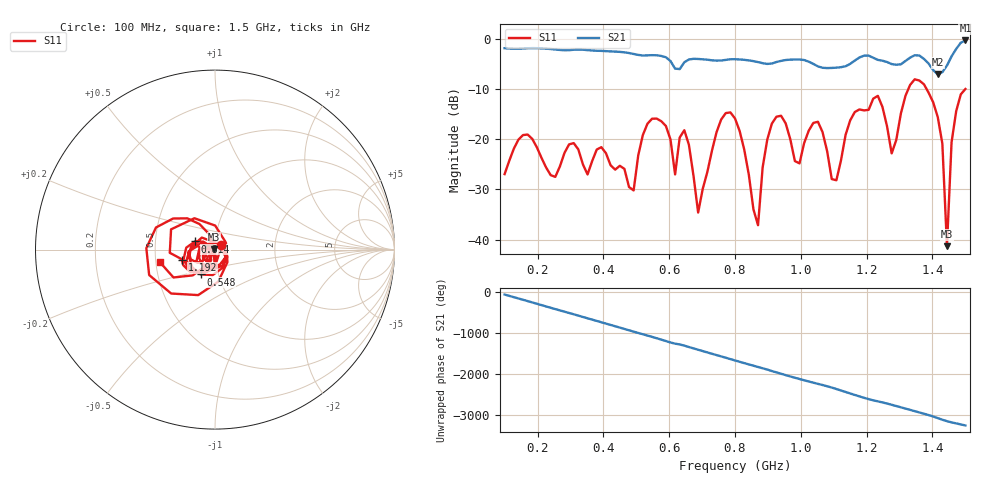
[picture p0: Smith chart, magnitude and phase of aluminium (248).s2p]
! NanoVNA-App
! Date: 2025-09-25 14:57:12
! Start: 100MHz Stop: 1,5GHz Points: 101
! S-Parameter data: F S11 S21 S12 S22
# Hz S RI R 50
!  Frequency  S11_Real  S11_Imag  S21_Real  S21_Imag  S12_Real  S12_Imag  S22_Real  S22_Imag
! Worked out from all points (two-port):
!   101 points, 100 MHz to 1.5 GHz, reference 50 ohm
!   highest |S21| = -0.38 dB at 1.5 GHz (marker M1); lowest = -7.1 dB at 1.416 GHz (marker M2)
!   |S21| within 3 dB of the highest: start of sweep to 567.4 MHz; 1.46 GHz to end of sweep (the widest 2 of 3)
!   lowest |S11| = -41.3 dB at 1.444 GHz (marker M3), VSWR 1.02, Z = 49.2 + j0.333 ohm
!   |S11| at or under -10 dB: start of sweep to 1.327 GHz; 1.382 GHz to end of sweep
!   S12 and S22 are empty: the file has one direction only
!   S11 on the Smith chart (normalised r, x): 100 MHz: 1.07, +0.06; 548 MHz: 0.82, -0.23; 814 MHz: 0.80, +0.07; 1.192 GHz: 0.68, -0.08; 1.5 GHz: 0.53, -0.08
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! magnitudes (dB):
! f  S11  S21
! 100 MHz  -27.0  -1.9
! 338 MHz  -25.0  -2.2
! 492 MHz  -30.2  -3.1
! 548 MHz  -15.9  -3.3
! 576 MHz  -16.4  -3.5
! 618 MHz  -27.0  -6.0
! 646 MHz  -18.2  -4.7
! 688 MHz  -34.6  -4.1
! 800 MHz  -15.9  -4.1
! 814 MHz  -18.4  -4.2
! 870 MHz  -37.1  -4.7
! 912 MHz  -16.9  -5.0
! 996 MHz  -24.8  -4.2
! 1.038 GHz  -16.8  -5.0
! 1.108 GHz  -28.2  -5.8
! 1.192 GHz  -14.3  -3.4
! 1.276 GHz  -22.8  -5.1
! 1.346 GHz  -8.1  -3.3
! 1.416 GHz  -15.6  -7.1
! 1.444 GHz  -41.3  -5.4
! 1.458 GHz  -20.6  -3.5
! 1.5 GHz  -10.0  -0.4
